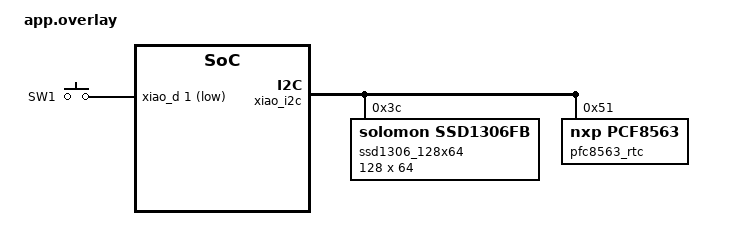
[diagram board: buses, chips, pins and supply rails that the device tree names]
/ {
	buttons {
		compatible = "gpio-keys";
		xiao_button0: button_0 {
			gpios = <&xiao_d 1 (GPIO_PULL_UP | GPIO_ACTIVE_LOW)>;
			label = "SW1";
			zephyr,code = <INPUT_KEY_0>;
		};
	};

	chosen {
		zephyr,rtc = &pfc8563_rtc;
		zephyr,display = &ssd1306_128x64;
	};

	aliases {
		sw1 = &xiao_button0;
		rtc = &pfc8563_rtc;
	};
};

&xiao_i2c {
	status = "okay";
	zephyr,concat-buf-size = <2048>;
	ssd1306_128x64: ssd1306@3c {
		compatible = "solomon,ssd1306fb";
		reg = <0x3c>;
		width = <128>;
		height = <64>;
		segment-offset = <0>;
		page-offset = <0>;
		display-offset = <0>;
		multiplex-ratio = <63>;
		segment-remap;
		com-invdir;
		prechargep = <0x22>;
	};

	pfc8563_rtc: pfc8563@51 {
		compatible = "nxp,pcf8563";
		reg = <0x51>;
		status = "okay";
	};
};
